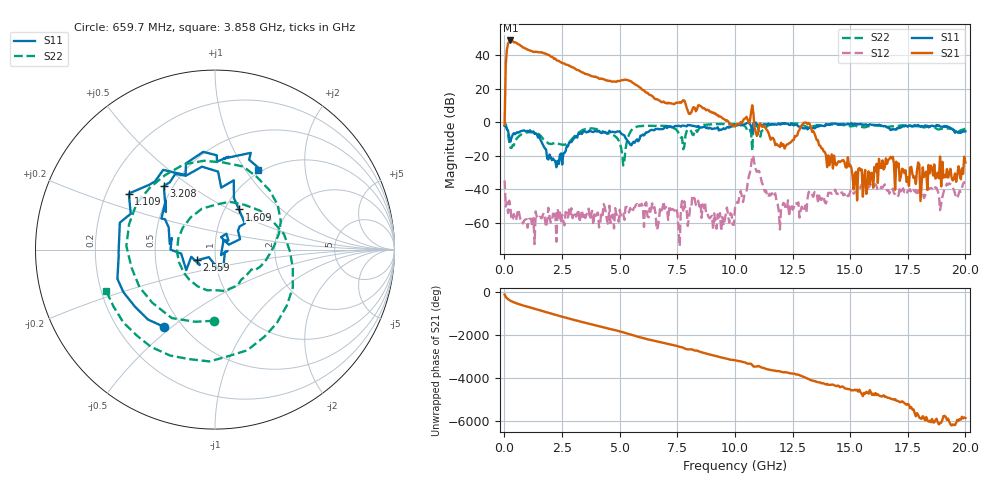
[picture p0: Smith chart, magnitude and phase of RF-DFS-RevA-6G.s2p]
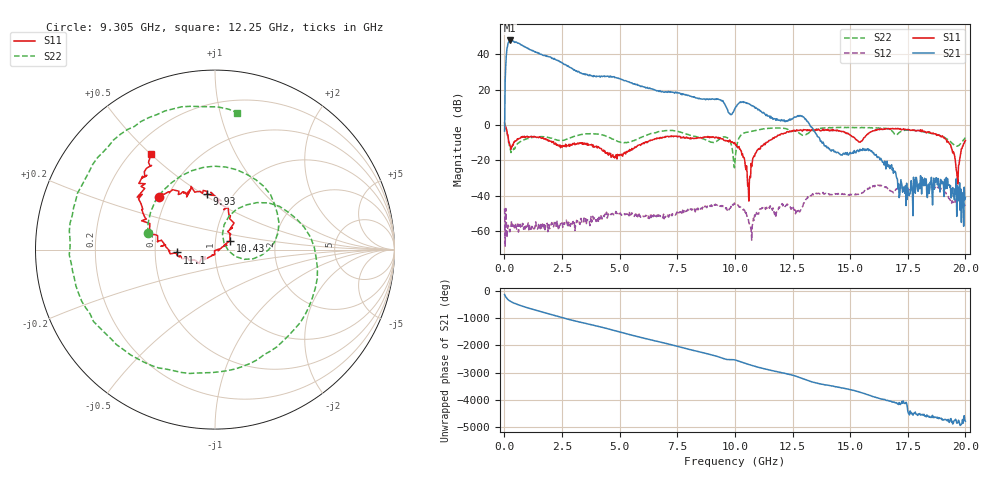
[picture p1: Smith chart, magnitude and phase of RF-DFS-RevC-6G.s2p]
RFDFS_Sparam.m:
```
% RF-DFS S-Parameters
clear
clc
close all

% Importing data
RevA_6G = sparameters('RF-DFS-RevA-6G.s2p');
RevC_6G = sparameters('RF-DFS-RevC-6G.s2p');
RevC_12G = sparameters('RF-DFS-RevC-12G.s2p');
PMA6G_MC_WEB = sparameters('PMA2-63LN+_5.00V_42mA_Plus25DegC_Unit1.s2p');


% Graphing S-Parameters
figure(1)
rfplot(RevA_6G)
grid on
title('RF-DFS Rev A with PMA2-63LN+')
xlabel('Frequency (GHz)')

figure(2)
rfplot(PMA6G_MC_WEB)
grid on
title('PMA2-63LN+ Evaluation Test Board')
xlabel('Frequency (GHz)')

figure(3)
rfplot(RevC_6G)
grid on
title('RF-DFS Rev C with PMA2-63LN+')
xlabel('Frequency (GHz)')

figure(4)
rfplot(RevC_12G)
grid on
title('RF-DFS Rev C with PMA2-123LN+')
xlabel('Frequency (GHz)')

% Output csv
writematrix([RevC_6G.Frequencies/10^6, mag2db(abs(rfparam(RevC_6G, 2, 1))), mag2db(abs(rfparam(RevC_6G, 1, 1)))], 'RevC-6G.txt', 'Delimiter', 'tab');
writematrix([RevC_12G.Frequencies/10^6, mag2db(abs(rfparam(RevC_12G, 2, 1))), mag2db(abs(rfparam(RevC_12G, 1, 1)))], 'RevC-12G.txt', 'Delimiter', 'tab');
```
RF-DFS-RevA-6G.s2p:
!Agilent Technologies,E8363B,SG43030126,A.07.50.67
!Agilent E8363B: A.07.50.67
!Date: Tuesday, September 27, 1988 10:05:43
!Correction: S11(Full 2 Port(1,2))
!S21(Full 2 Port(1,2))
!S12(Full 2 Port(1,2))
!S22(Full 2 Port(1,2))
!S2P File: Measurements: S11, S21, S12, S22:
# Hz S  dB  R 50
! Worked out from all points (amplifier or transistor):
!   401 points, 10 MHz to 20 GHz, reference 50 ohm
!   highest |S21| = 48.6 dB at 259.9 MHz (marker M1)
!   |S21| within 3 dB of that: 143.1 MHz to 695.6 MHz (552.5 MHz wide, 132 % of centre)
!   unconditionally stable (mu >= 1): 149.3 MHz to 173.8 MHz; 266.3 MHz to 10.78 GHz; 10.91 GHz to end of sweep
!   at 3.308 GHz: K = 5.46, MAG = 32.9 dB, |S12| = -56.4 dB
!   at 10.01 GHz: K = 21.83, MAG = 7.9 dB, |S12| = -51.0 dB
!   at 20 GHz: K = 216.86, MAG = -20.4 dB, |S12| = -36.0 dB
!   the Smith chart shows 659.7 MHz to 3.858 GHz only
!   S11 on the Smith chart (normalised r, x): 659.7 MHz: 0.40, -0.47; 1.109 GHz: 0.29, +0.27; 1.609 GHz: 1.16, +0.56; 2.559 GHz: 0.81, -0.10; 3.208 GHz: 0.45, +0.40; 3.858 GHz: 0.97, +1.15
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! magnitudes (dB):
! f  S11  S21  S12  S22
! 10 MHz  -2.2  -1.5  -34.7  -0.1
! 259.9 MHz  -11.7  48.6  -50.4  -15.3
! 659.7 MHz  -5.7  46.1  -55.8  -8.0
! 1.109 GHz  -4.8  42.6  -57.5  -6.0
! 1.609 GHz  -11.7  41.7  -57.3  -8.7
! 2.559 GHz  -18.5  35.0  -59.3  -13.5
! 3.208 GHz  -6.8  31.0  -52.0  -6.3
! 3.858 GHz  -5.9  27.1  -61.2  -3.8
! 10.01 GHz  -2.2  -2.5  -51.0  -1.2
! 10.8 GHz  -0.5  5.0  -20.7  -1.4
! 20 GHz  -5.5  -24.1  -36.0  -4.0
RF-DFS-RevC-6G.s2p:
!Agilent Technologies,E8363B,SG43030126,A.07.50.67
!Agilent E8363B: A.07.50.67
!Date: Thursday, May 04, 1989 06:40:03
!Correction: S11(Full 2 Port(1,2))
!S21(Full 2 Port(1,2))
!S12(Full 2 Port(1,2))
!S22(Full 2 Port(1,2))
!S2P File: Measurements: S11, S21, S12, S22:
# Hz S  dB  R 50
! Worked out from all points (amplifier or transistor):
!   801 points, 10 MHz to 20 GHz, reference 50 ohm
!   highest |S21| = 47.8 dB at 234.9 MHz (marker M1)
!   |S21| within 3 dB of that: 139.3 MHz to 798.4 MHz (659 MHz wide, 141 % of centre)
!   unconditionally stable (mu >= 1): 34.93 MHz to 36.14 MHz; 94.4 MHz to end of sweep
!   at 3.333 GHz: K = 4.71, MAG = 31.4 dB, |S12| = -52.8 dB
!   at 10.01 GHz: K = 25.83, MAG = 9.9 dB, |S12| = -44.6 dB
!   at 20 GHz: K = 7013.85, MAG = -39.4 dB, |S12| = -45.1 dB
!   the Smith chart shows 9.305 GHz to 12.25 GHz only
!   S11 on the Smith chart (normalised r, x): 9.305 GHz: 0.45, +0.32; 9.93 GHz: 0.76, +0.52; 10.43 GHz: 1.18, +0.12; 11.1 GHz: 0.65, -0.02; 12.25 GHz: 0.28, +0.50
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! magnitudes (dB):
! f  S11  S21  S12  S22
! 10 MHz  1.1  -3.4  -47.1  0.1
! 234.9 MHz  -11.1  47.8  -60.3  -13.1
! 9.305 GHz  -7.4  14.5  -45.3  -8.3
! 9.93 GHz  -10.1  7.2  -45.2  -18.4
! 10.01 GHz  -10.4  9.4  -44.6  -20.4
! 10.43 GHz  -20.3  12.8  -48.3  -4.4
! 11.1 GHz  -13.5  7.8  -47.3  -2.5
! 12.25 GHz  -3.9  2.1  -44.7  -2.2
! 18.15 GHz  -3.4  -33.7  -33.1  -3.8
! 19.65 GHz  -30.6  -34.3  -42.1  -11.9
! 20 GHz  -8.7  -40.9  -45.1  -7.2
